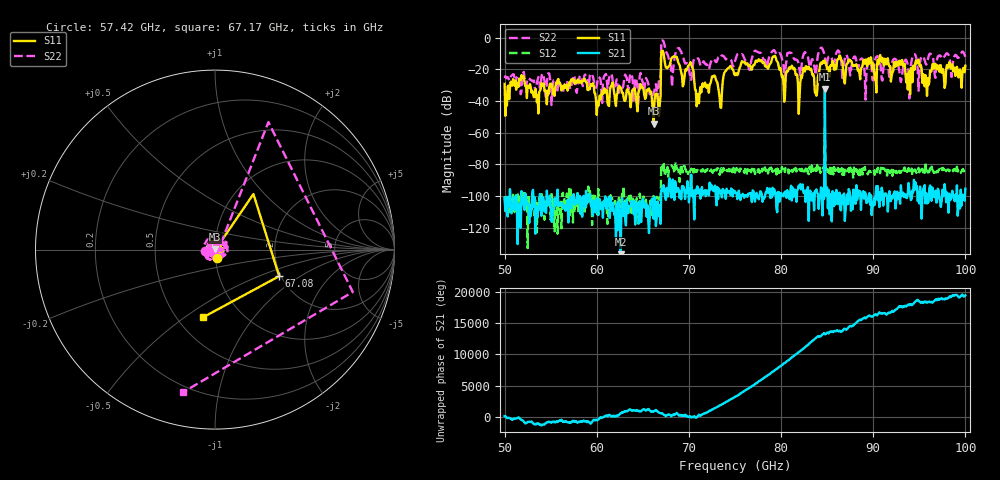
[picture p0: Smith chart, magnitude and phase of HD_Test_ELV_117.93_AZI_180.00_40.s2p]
! 11/25/2026 9:24:46 AM
! C:\ANRITSUVNA\TEMP\TEMP.S2P
! CHANNEL.1
! TR.MEASUREMENT
! RAW.DATA
# HZ S RI R 50.0
! FREQ.HZ  S11RE  S11IM  S21RE  S21IM  S12RE  S12IM  S22RE  S22IM
!; PortSelection: Port_12
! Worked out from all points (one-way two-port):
!   601 points, 50 GHz to 100 GHz, reference 50 ohm
!   highest |S21| = -32.37 dB at 84.75 GHz (marker M1); lowest = -137.0 dB at 62.58 GHz (marker M2)
!   lowest |S11| = -54.4 dB at 66.17 GHz (marker M3), VSWR 1.00, Z = 50.1 + j0.149 ohm
!   |S11| at or under -10 dB: start of sweep to 67 GHz; 67.24 GHz to end of sweep
!   |S22| runs from -42.6 to -1.8 dB; largest |S21 - S12| = 0.024
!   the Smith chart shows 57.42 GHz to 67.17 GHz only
!   S11 on the Smith chart (normalised r, x): 57.42 GHz: 1.02, -0.10; 67.08 GHz: 1.96, -0.68; 67.17 GHz: 0.67, -0.59
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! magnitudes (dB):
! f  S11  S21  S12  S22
! 50 GHz  -29.2  -101.5  -100.3  -25.4
! 57.42 GHz  -26.3  -100.7  -116.9  -25.2
! 58.42 GHz  -27.2  -113.2  -104.5  -29.0
! 60.17 GHz  -43.2  -112.1  -95.6  -24.8
! 62.58 GHz  -31.5  -137.0  -106.8  -29.8
! 66.17 GHz  -54.4  -114.4  -100.0  -35.4
! 66.67 GHz  -41.9  -106.1  -101.6  -32.1
! 67.08 GHz  -8.2  -94.5  -83.6  -1.9
! 67.17 GHz  -8.3  -96.9  -78.8  -1.8
! 70.17 GHz  -15.4  -97.3  -84.1  -25.7
! 70.92 GHz  -40.6  -93.9  -83.6  -13.3
! 75 GHz  -23.7  -97.0  -85.3  -15.0
! 79.25 GHz  -11.8  -95.8  -83.2  -7.9
! 80.25 GHz  -27.6  -100.3  -83.1  -17.6
! 83.42 GHz  -23.8  -99.7  -83.2  -13.7
! 83.83 GHz  -36.7  -95.9  -85.0  -19.5
! 84.75 GHz  -14.3  -32.4  -57.3  -11.8
! 91.67 GHz  -16.7  -102.3  -86.1  -20.4
! 93.75 GHz  -32.8  -98.5  -83.5  -17.3
! 94.83 GHz  -15.0  -103.4  -84.6  -20.3
! 95.83 GHz  -36.8  -104.8  -83.3  -15.9
! 100 GHz  -17.7  -95.4  -83.6  -12.2
